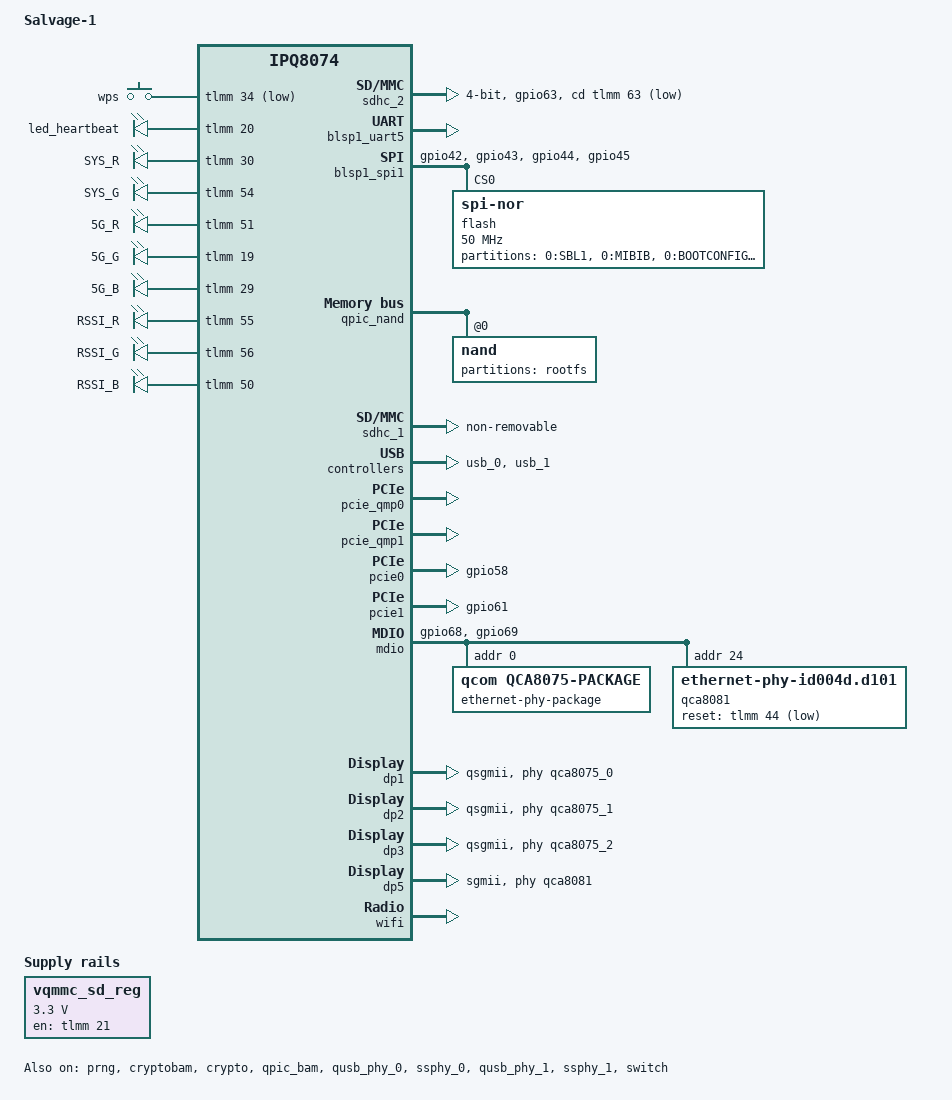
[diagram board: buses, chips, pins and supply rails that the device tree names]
// SPDX-License-Identifier: GPL-2.0-or-later OR MIT
/* Copyright (c) 2025-2026, cuicanmx <arl96075@163.com> */

/dts-v1/;

#include "ipq8074.dtsi"
#include "ipq8074-hk-cpu.dtsi"
#include "ipq8074-ess.dtsi"
#include "ipq8074-nss.dtsi"
#include <dt-bindings/gpio/gpio.h>
#include <dt-bindings/input/input.h>
#include <dt-bindings/leds/common.h>

/ {
	model = "Salvage-1";
	compatible = "cuicanmx,salvage-1", "qcom,ipq8074";

	aliases {
		serial0 = &blsp1_uart5;
		ethernet0 = &dp5;	/* 2.5G WAN (QCA8081) */
		ethernet1 = &dp3;
		ethernet2 = &dp2;
		ethernet3 = &dp1;
	};

	chosen {
		stdout-path = "serial0:115200n8";
		bootargs-append = " root=/dev/ubiblock0_1";
	};

	/* SD 卡 3.3V，由 GPIO21 使能（与原厂 vqmmc 一致） */
	vqmmc_sd_reg: regulator-vqmmc-sd {
		compatible = "regulator-fixed";
		regulator-name = "vqmmc_sd";
		regulator-min-microvolt = <3300000>;
		regulator-max-microvolt = <3300000>;
		regulator-always-on;
		gpios = <&tlmm 21 GPIO_ACTIVE_HIGH>;
		enable-active-high;
	};

	/* 原厂 WPS 按键 */
	gpio_keys {
		compatible = "gpio-keys";
		pinctrl-0 = <&button_pins>;
		pinctrl-names = "default";

		wps {
			label = "wps";
			gpios = <&tlmm 34 GPIO_ACTIVE_LOW>;
			linux,code = <KEY_WPS_BUTTON>;
			debounce-interval = <60>;
		};
	};

	/* 原厂 LED（GPIO 与极性与原厂 DTB 逐一对应） */
	leds {
		compatible = "gpio-leds";
		pinctrl-0 = <&led_pins>;
		pinctrl-names = "default";

		led_heartbeat: led_heartbeat {
			label = "led_heartbeat";
			gpios = <&tlmm 20 GPIO_ACTIVE_HIGH>;
			linux,default-trigger = "heartbeat";
		};

		led_sys_r: SYS_R {
			label = "SYS_R";
			gpios = <&tlmm 30 GPIO_ACTIVE_HIGH>;
			default-state = "on";
		};

		led_sys_g: SYS_G {
			label = "SYS_G";
			gpios = <&tlmm 54 GPIO_ACTIVE_HIGH>;
			default-state = "on";
		};

		led_5g_r: 5G_R {
			label = "5G_R";
			gpios = <&tlmm 51 GPIO_ACTIVE_HIGH>;
			default-state = "on";
		};

		led_5g_g: 5G_G {
			label = "5G_G";
			gpios = <&tlmm 19 GPIO_ACTIVE_HIGH>;
			default-state = "on";
		};

		led_5g_b: 5G_B {
			label = "5G_B";
			gpios = <&tlmm 29 GPIO_ACTIVE_HIGH>;
			default-state = "on";
		};

		led_rssi_r: RSSI_R {
			label = "RSSI_R";
			gpios = <&tlmm 55 GPIO_ACTIVE_HIGH>;
			default-state = "on";
		};

		led_rssi_g: RSSI_G {
			label = "RSSI_G";
			gpios = <&tlmm 56 GPIO_ACTIVE_HIGH>;
			default-state = "on";
		};

		led_rssi_b: RSSI_B {
			label = "RSSI_B";
			gpios = <&tlmm 50 GPIO_ACTIVE_HIGH>;
			default-state = "on";
		};
	};
};

/* 原厂 SD 卡控制器（mainline ipq8074.dtsi 中缺失） */
&soc {
	sdhc_2: mmc@7864900 {
		compatible = "qcom,ipq8074-sdhci", "qcom,sdhci-msm-v4";
		reg = <0x7864900 0x500>, <0x7864000 0x800>;
		reg-names = "hc", "core";
		interrupts = <GIC_SPI 125 IRQ_TYPE_LEVEL_HIGH>,
			     <GIC_SPI 221 IRQ_TYPE_LEVEL_HIGH>;
		interrupt-names = "hc_irq", "pwr_irq";
		clocks = <&gcc GCC_SDCC2_AHB_CLK>,
			 <&gcc GCC_SDCC2_APPS_CLK>,
			 <&xo>;
		clock-names = "iface", "core", "xo";
		resets = <&gcc GCC_SDCC2_BCR>;
		max-frequency = <192000000>;
		mmc-ddr-1_8v;
		bus-width = <4>;
		status = "okay";
	};
};

&tlmm {
	mdio_pins: mdio-pins {
		mdc {
			pins = "gpio68";
			function = "mdc";
			drive-strength = <8>;
			bias-pull-up;
		};

		mdio {
			pins = "gpio69";
			function = "mdio";
			drive-strength = <8>;
			bias-pull-up;
		};
	};

	/* SPI NOR：原厂使用 BLSP1 SPI（gpio42-45）。
	 * 设备实测：pin42/43/45 归 blsp1_spi，pin44 同时被 SPI 组声明和
	 * QCA8081 复位 GPIO 申请（详见 mdio 节点注释）。
	 */
	spi1_pins: spi1-pins {
		mux {
			pins = "gpio42", "gpio43", "gpio44", "gpio45";
			function = "blsp1_spi";
			drive-strength = <8>;
			bias-disable;
		};
	};

	sd_pins: sd-pins {
		mux {
			pins = "gpio63";
			function = "sd_card";
			drive-strength = <8>;
			bias-pull-up;
		};
	};

	/* PCIe PERST#：原厂接在 GPIO58(PCIe0) / GPIO61(PCIe1)，
	 * 由 perst-gpios 以 GPIO 方式控制，这里显式复用为 gpio 功能，
	 * 不再依赖 bootloader 遗留的 pinmux。
	 */
	pcie0_perst_pins: pcie0-perst-pins {
		perst {
			pins = "gpio58";
			function = "gpio";
			drive-strength = <8>;
			bias-pull-down;
		};
	};

	pcie1_perst_pins: pcie1-perst-pins {
		perst {
			pins = "gpio61";
			function = "gpio";
			drive-strength = <8>;
			bias-pull-down;
		};
	};

	/* 原厂按键引脚 */
	button_pins: button-pins {
		wps_button {
			pins = "gpio34";
			function = "gpio";
			drive-strength = <8>;
			bias-pull-up;
		};
	};

	/* 原厂 LED 引脚 */
	led_pins: led-pins {
		led_heartbeat {
			pins = "gpio20";
			function = "gpio";
			drive-strength = <8>;
			bias-pull-down;
		};

		SYS_R {
			pins = "gpio30";
			function = "gpio";
			drive-strength = <8>;
			bias-pull-down;
		};

		SYS_G {
			pins = "gpio54";
			function = "gpio";
			drive-strength = <8>;
			bias-pull-down;
		};

		5G_R {
			pins = "gpio51";
			function = "gpio";
			drive-strength = <8>;
			bias-pull-down;
		};

		5G_G {
			pins = "gpio19";
			function = "gpio";
			drive-strength = <8>;
			bias-pull-down;
		};

		5G_B {
			pins = "gpio29";
			function = "gpio";
			drive-strength = <8>;
			bias-pull-down;
		};

		RSSI_R {
			pins = "gpio55";
			function = "gpio";
			drive-strength = <8>;
			bias-pull-down;
		};

		RSSI_G {
			pins = "gpio56";
			function = "gpio";
			drive-strength = <8>;
			bias-pull-down;
		};

		RSSI_B {
			pins = "gpio50";
			function = "gpio";
			drive-strength = <8>;
			bias-pull-down;
		};
	};
};

/* 基础外设（与原厂一致启用的部分） */
&blsp1_uart5 { status = "okay"; };
&prng { status = "okay"; };
&cryptobam { status = "okay"; };
&crypto { status = "okay"; };
&qpic_bam { status = "okay"; };

/* SPI NOR（原厂分区表，逐项一致） */
&blsp1_spi1 {
	status = "okay";
	pinctrl-0 = <&spi1_pins>;
	pinctrl-names = "default";

	flash@0 {
		reg = <0>;
		compatible = "jedec,spi-nor";
		spi-max-frequency = <50000000>;

		partitions {
			compatible = "fixed-partitions";
			#address-cells = <1>;
			#size-cells = <1>;

			partition@0 { label = "0:SBL1"; reg = <0x0 0x50000>; read-only; };
			partition@50000 { label = "0:MIBIB"; reg = <0x50000 0x10000>; read-only; };
			partition@60000 { label = "0:BOOTCONFIG"; reg = <0x60000 0x20000>; read-only; };
			partition@80000 { label = "0:BOOTCONFIG1"; reg = <0x80000 0x20000>; read-only; };
			partition@a0000 { label = "0:QSEE"; reg = <0xa0000 0x180000>; read-only; };
			partition@220000 { label = "0:QSEE_1"; reg = <0x220000 0x180000>; read-only; };
			partition@3a0000 { label = "0:DEVCFG"; reg = <0x3a0000 0x10000>; read-only; };
			partition@3b0000 { label = "0:DEVCFG_1"; reg = <0x3b0000 0x10000>; read-only; };
			partition@3c0000 { label = "0:APDP"; reg = <0x3c0000 0x10000>; read-only; };
			partition@3d0000 { label = "0:APDP_1"; reg = <0x3d0000 0x10000>; read-only; };
			partition@3e0000 { label = "0:RPM"; reg = <0x3e0000 0x40000>; read-only; };
			partition@420000 { label = "0:RPM_1"; reg = <0x420000 0x40000>; read-only; };
			partition@460000 { label = "0:CDT"; reg = <0x460000 0x10000>; read-only; };
			partition@470000 { label = "0:CDT_1"; reg = <0x470000 0x10000>; read-only; };
			partition@480000 { label = "0:APPSBLENV"; reg = <0x480000 0x10000>; };
			partition@490000 { label = "0:APPSBL"; reg = <0x490000 0xa0000>; read-only; };
			partition@530000 { label = "0:APPSBL_1"; reg = <0x530000 0xa0000>; read-only; };
			partition@5d0000 { label = "0:ART"; reg = <0x5d0000 0x40000>; read-only; };
			partition@610000 { label = "0:ETHPHYFW"; reg = <0x610000 0x80000>; read-only; };
		};
	};
};

/* NAND：原厂 bootargs 使用 ubi.mtd=rootfs，整片 256M 作为一个 UBI 分区 */
&qpic_nand {
	status = "okay";

	nand@0 {
		reg = <0>;
		nand-ecc-strength = <8>;
		nand-ecc-step-size = <512>;
		nand-bus-width = <8>;

		partitions {
			compatible = "fixed-partitions";
			#address-cells = <1>;
			#size-cells = <1>;

			partition@0 {
				label = "rootfs";
				reg = <0x0 0x10000000>;
			};
		};
	};
};

/* eMMC（原厂 non-removable + HS400） */
&sdhc_1 {
	status = "okay";
	non-removable;
	mmc-ddr-1_8v;
	mmc-hs200-1_8v;
	mmc-hs400-1_8v;
	max-frequency = <192000000>;
};

/* SD 卡槽：CD=GPIO63，vqmmc=GPIO21（与原厂一致） */
&sdhc_2 {
	pinctrl-0 = <&sd_pins>;
	pinctrl-names = "default";
	cd-gpios = <&tlmm 63 GPIO_ACTIVE_LOW>;
	vqmmc-supply = <&vqmmc_sd_reg>;
};

/* 双 USB（原厂两路均作 host） */
&qusb_phy_0 { status = "okay"; };
&ssphy_0 { status = "okay"; };
&usb_0 { status = "okay"; };

&qusb_phy_1 { status = "okay"; };
&ssphy_1 { status = "okay"; };
&usb_1 { status = "okay"; };

/* PCIe：原厂只启用 PCIe0（PERST=GPIO58，WAKE=GPIO59），PCIe1 为 disabled。
 * 本板 M.2 座在 5G 模组侧按 USB 走线（原厂用 RM500Q 走 USB），
 * 但 PCIe0 按原厂 DTB 保持启用（板载外置 WLAN 预留）；
 * PCIe1 保持启用仅用于 SDX55/MHI 类模组的 PCIe 通路验证，
 * 不需要时可改回 status = "disabled"。
 */
&pcie_qmp0 { status = "okay"; };
&pcie_qmp1 { status = "okay"; };

&pcie0 {
	status = "okay";
	pinctrl-0 = <&pcie0_perst_pins>;
	pinctrl-names = "default";
	perst-gpios = <&tlmm 58 GPIO_ACTIVE_LOW>;
};

&pcie1 {
	status = "okay";
	pinctrl-0 = <&pcie1_perst_pins>;
	pinctrl-names = "default";
	perst-gpios = <&tlmm 61 GPIO_ACTIVE_LOW>;
};

/* MDIO：3x QCA8075（QSGMII）+ 1x QCA8081 2.5G（addr 24） */
&mdio {
	status = "okay";
	pinctrl-0 = <&mdio_pins>;
	pinctrl-names = "default";

	ethernet-phy-package@0 {
		#address-cells = <1>;
		#size-cells = <0>;
		compatible = "qcom,qca8075-package";
		reg = <0>;
		qcom,package-mode = "qsgmii";

		qca8075_0: ethernet-phy@0 {
			compatible = "ethernet-phy-ieee802.3-c22";
			reg = <0>;
		};

		qca8075_1: ethernet-phy@1 {
			compatible = "ethernet-phy-ieee802.3-c22";
			reg = <1>;
		};

		qca8075_2: ethernet-phy@2 {
			compatible = "ethernet-phy-ieee802.3-c22";
			reg = <2>;
		};
	};

	/* QCA8081 2.5G PHY 复位：与已实机验证的 openwrt-6.x DTS 完全一致
	 * （GPIO44，ACTIVE_LOW），不做改动。
	 *
	 * 原厂信息：原厂 DTB 在 mdio 节点上写的是
	 *   phy-reset-gpio = <&tlmm 37 ...>, <&tlmm 25 ...>
	 * mainline 不支持该属性；同时原厂 spi_1_pins 组把 gpio42-45（含 44）
	 * 复用为 blsp1_spi。设备实测 pin44 上 SPI 组声明与 GPIO 申请同时存在，
	 * 在没有原理图的情况下无法判定板上真实连接（37/25 与 QCA8075/QCA8081
	 * 的对应关系及极性也未知），因此保持已验证行为：
	 *   - 若将来确认 QCA8081 复位为 GPIO25，可改为 reset-gpios = <&tlmm 25 GPIO_ACTIVE_LOW>;
	 *   - QCA8075 package 若需复位，可在 ethernet-phy-package@0 上加 reset-gpios。
	 */
	qca8081: ethernet-phy@24 {
		compatible = "ethernet-phy-id004d.d101";
		reg = <24>;
		reset-deassert-us = <10000>;
		reset-gpios = <&tlmm 44 GPIO_ACTIVE_LOW>;
	};
};

/* 交换机：3x 千兆 LAN + 1x 2.5G WAN */
&switch {
	status = "okay";

	switch_lan_bmp = <(ESS_PORT1 | ESS_PORT2 | ESS_PORT3)>;
	switch_wan_bmp = <ESS_PORT5>;
	switch_mac_mode = <MAC_MODE_QSGMII>;
	switch_mac_mode1 = <MAC_MODE_SGMII_PLUS>;

	qcom,port_phyinfo {
		port@1 { port_id = <1>; phy_address = <0>; };
		port@2 { port_id = <2>; phy_address = <1>; };
		port@3 { port_id = <3>; phy_address = <2>; };
		port@5 { port_id = <5>; phy_address = <24>; port_mac_sel = "QGMAC_PORT"; };
	};
};

&edma { status = "okay"; };

/* 网络接口（与 /etc/board.d/02_network 中的 lan1 lan2 lan3 / wan 对应） */
&dp1 {
	status = "okay";
	phy-mode = "qsgmii";
	phy-handle = <&qca8075_0>;
	label = "lan3";
};

&dp2 {
	status = "okay";
	phy-mode = "qsgmii";
	phy-handle = <&qca8075_1>;
	label = "lan2";
};

&dp3 {
	status = "okay";
	phy-mode = "qsgmii";
	phy-handle = <&qca8075_2>;
	label = "lan1";
};

&dp5 {
	status = "okay";
	phy-mode = "sgmii";
	phy-handle = <&qca8081>;
	label = "wan";
};

/* Wi-Fi：ath11k 校准变体名必须与 ipq-wifi 的 board-2.bin 中
 * "variant=Salvage-1" 一致
 */
&wifi {
	status = "okay";
	qcom,ath11k-calibration-variant = "Salvage-1";
};
